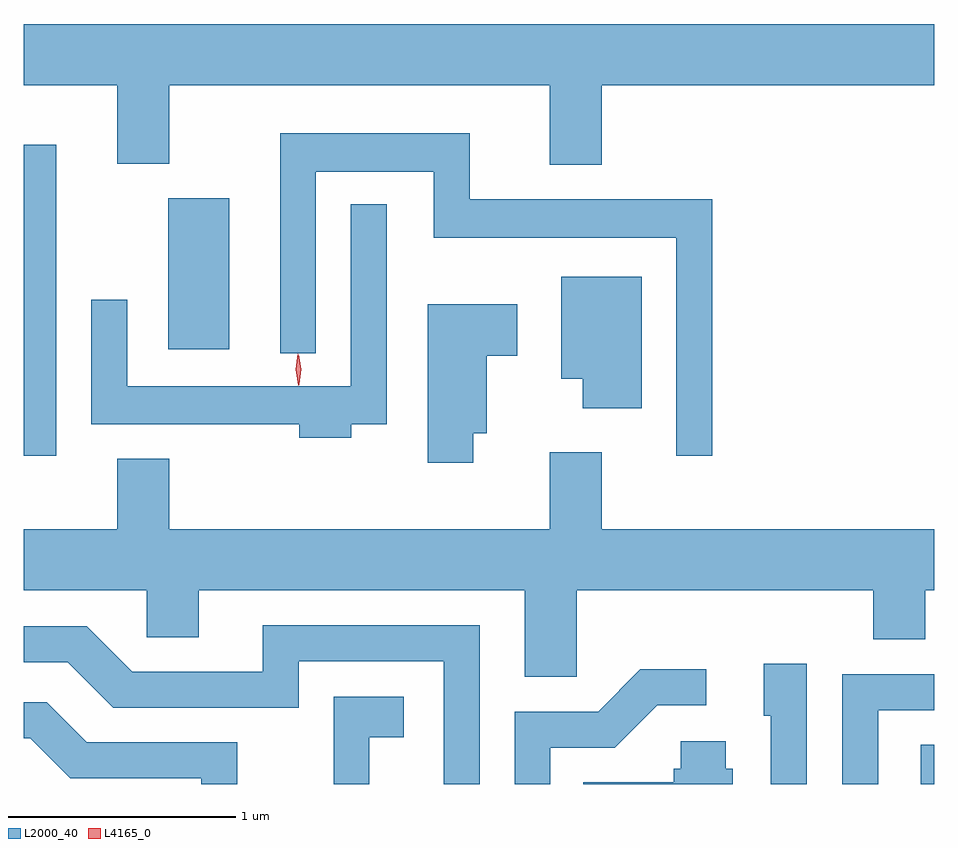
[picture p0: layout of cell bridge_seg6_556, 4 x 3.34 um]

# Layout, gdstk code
import gdstk
lib = gdstk.Library(unit=1e-6, precision=1e-09)
def R(c, l, rs):  # rectangles x0, y0, x1, y1
    for r in rs: c.add(gdstk.rectangle(r[:2], r[2:], *l))
def P(c, l, *ps):  # polygons
    for p in ps: c.add(gdstk.Polygon(p, *l))
L2000_40 = (2000, 40)
L4165_0 = (4165, 0)

bridge_seg6_556 = lib.new_cell('bridge_seg6_556')
R(bridge_seg6_556, L2000_40, [(504.951,1635.766,505.01,1635.939), (501.01,1637.208,501.154,1638.574), (501.646,1637.676,501.914,1638.339)])
P(bridge_seg6_556, L2000_40, [(503.549,1638.836),(505.01,1638.836),(505.01,1639.104),(501.01,1639.104),(501.01,1638.836),(501.421,1638.836),(501.421,1638.491),(501.649,1638.491),(501.649,1638.836),(503.321,1638.836),(503.321,1638.486),(503.549,1638.486)],
  [(504.034,1638.334),(502.969,1638.334),(502.969,1638.624),(502.136,1638.624),(502.136,1637.658),(502.294,1637.658),(502.294,1638.456),(502.811,1638.456),(502.811,1638.166),(503.876,1638.166),(503.876,1637.208),(504.034,1637.208)],
  [(502.449,1637.346),(502.604,1637.346),(502.604,1638.313),(502.446,1638.313),(502.446,1637.514),(501.464,1637.514),(501.464,1637.893),(501.306,1637.893),(501.306,1637.346),(502.221,1637.346),(502.221,1637.286),(502.449,1637.286)],
  [(503.724,1637.994),(503.371,1637.994),(503.371,1637.546),(503.466,1637.546),(503.466,1637.416),(503.724,1637.416)],
  [(502.984,1637.306),(503.044,1637.306),(503.044,1637.646),(503.179,1637.646),(503.179,1637.874),(502.786,1637.874),(502.786,1637.176),(502.984,1637.176)],
  [(503.439,1636.616),(504.741,1636.616),(504.741,1636.401),(504.969,1636.401),(504.969,1636.616),(505.01,1636.616),(505.01,1636.884),(503.549,1636.884),(503.549,1637.224),(503.321,1637.224),(503.321,1636.884),(501.649,1636.884),(501.649,1637.194),(501.421,1637.194),(501.421,1636.884),(501.01,1636.884),(501.01,1636.616),(501.551,1636.616),(501.551,1636.411),(501.779,1636.411),(501.779,1636.616),(503.211,1636.616),(503.211,1636.236),(503.439,1636.236)],
  [(503.014,1636.464),(502.061,1636.464),(502.061,1636.259),(501.487,1636.259),(501.287,1636.459),(501.01,1636.459),(501.01,1636.301),(501.204,1636.301),(501.404,1636.101),(502.219,1636.101),(502.219,1636.306),(502.856,1636.306),(502.856,1635.766),(503.014,1635.766)],
  [(504.449,1636.294),(504.261,1636.294),(504.261,1636.066),(504.291,1636.066),(504.291,1635.766),(504.449,1635.766)],
  [(503.324,1635.926),(503.607,1635.926),(503.792,1636.111),(504.008,1636.111),(504.008,1636.269),(503.719,1636.269),(503.534,1636.084),(503.166,1636.084),(503.166,1635.766),(503.324,1635.766)],
  [(504.764,1636.091),(505.01,1636.091),(505.01,1636.249),(504.606,1636.249),(504.606,1635.766),(504.764,1635.766)],
  [(502.529,1635.971),(502.679,1635.971),(502.679,1636.149),(502.371,1636.149),(502.371,1635.766),(502.529,1635.766)],
  [(501.949,1635.949),(501.287,1635.949),(501.112,1636.124),(501.01,1636.124),(501.01,1635.966),(501.039,1635.966),(501.214,1635.791),(501.791,1635.791),(501.791,1635.766),(501.949,1635.766)],
  [(504.124,1635.834),(504.094,1635.834),(504.094,1635.954),(503.896,1635.954),(503.896,1635.834),(503.866,1635.834),(503.866,1635.774),(503.468,1635.774),(503.468,1635.766),(504.124,1635.766)])
P(bridge_seg6_556, L4165_0, [(502.22,1637.52),(502.22,1637.521),(502.209,1637.586),(502.218,1637.652),(502.218,1637.653),(502.219,1637.652),(502.229,1637.587),(502.221,1637.521)],
  [(502.217,1637.518),(502.217,1637.518),(502.206,1637.587),(502.214,1637.656),(502.215,1637.656),(502.215,1637.656),(502.226,1637.587),(502.218,1637.518)])

lib.write_gds('bridge_seg6_556.gds')
